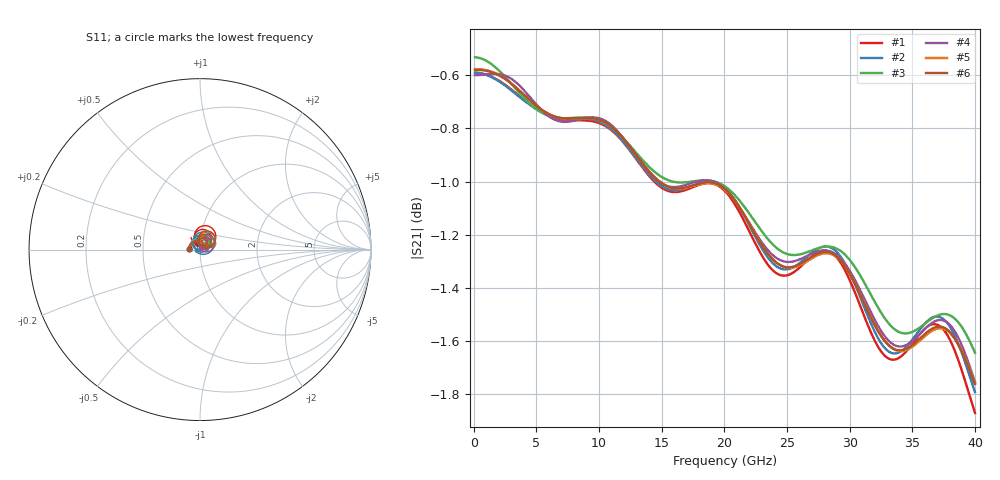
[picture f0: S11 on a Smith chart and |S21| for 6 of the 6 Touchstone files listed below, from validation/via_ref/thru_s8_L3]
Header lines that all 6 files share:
! thru_s8_L3: 2×thru, L3, 8 mm
! stackup: 8-layer 1.6 mm FR-4 (generic)
! ports: 1, 2
# Hz S RI R 50
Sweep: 100 MHz to 40 GHz
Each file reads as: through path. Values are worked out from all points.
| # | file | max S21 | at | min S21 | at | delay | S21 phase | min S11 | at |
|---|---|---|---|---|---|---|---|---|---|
| 1 | cst.s2p | -0.59 dB | 100 MHz | -1.9 dB | 40 GHz | 55 ps | -39 deg at 20.1 GHz | -37.6 dB | 38.5 GHz |
| 2 | cst_fine.s2p | -0.59 dB | 100 MHz | -1.8 dB | 40 GHz | 54.5 ps | -36 deg at 20.1 GHz | -46.7 dB | 11 GHz |
| 3 | cst_xfine.s2p | -0.53 dB | 100 MHz | -1.6 dB | 40 GHz | 54.5 ps | -36 deg at 20.1 GHz | -30.5 dB | 8.2 GHz |
| 4 | kisi.s2p | -0.59 dB | 1.6 GHz | -1.8 dB | 40 GHz | 54.7 ps | -36 deg at 20.1 GHz | -57.7 dB | 39.8 GHz |
| 5 | openems.s2p | -0.58 dB | 100 MHz | -1.8 dB | 40 GHz | 54.7 ps | -37 deg at 20.1 GHz | -32.4 dB | 39.7 GHz |
| 6 | openems_base.s2p | -0.58 dB | 100 MHz | -1.8 dB | 40 GHz | 54.7 ps | -37 deg at 20.1 GHz | -33.8 dB | 39.5 GHz |
